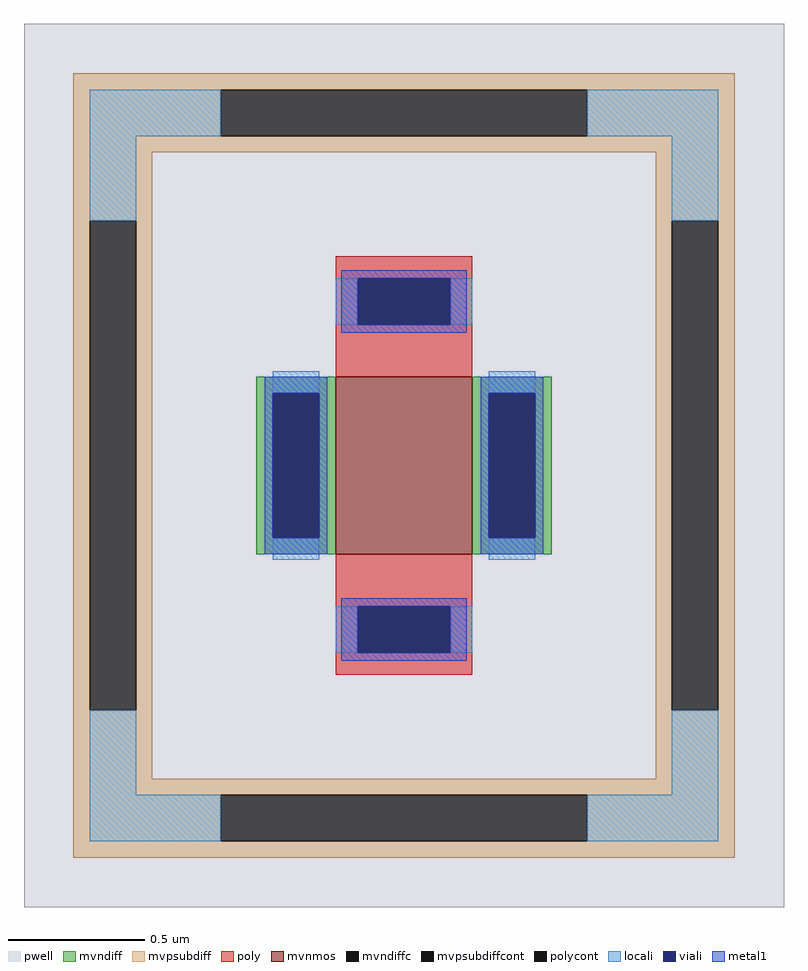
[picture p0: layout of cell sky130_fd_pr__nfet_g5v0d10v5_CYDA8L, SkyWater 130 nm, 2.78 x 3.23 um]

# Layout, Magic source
magic
tech sky130A
magscale 1 2
<< pwell >>
rect -278 -323 278 323
<< mvnmos >>
rect -50 -65 50 65
<< mvndiff >>
rect -108 53 -50 65
rect -108 -53 -96 53
rect -62 -53 -50 53
rect -108 -65 -50 -53
rect 50 53 108 65
rect 50 -53 62 53
rect 96 -53 108 53
rect 50 -65 108 -53
<< mvndiffc >>
rect -96 -53 -62 53
rect 62 -53 96 53
<< mvpsubdiff >>
rect -242 275 242 287
rect -242 241 -134 275
rect 134 241 242 275
rect -242 229 242 241
rect -242 179 -184 229
rect -242 -179 -230 179
rect -196 -179 -184 179
rect 184 179 242 229
rect -242 -229 -184 -179
rect 184 -179 196 179
rect 230 -179 242 179
rect 184 -229 242 -179
rect -242 -241 242 -229
rect -242 -275 -134 -241
rect 134 -275 242 -241
rect -242 -287 242 -275
<< mvpsubdiffcont >>
rect -134 241 134 275
rect -230 -179 -196 179
rect 196 -179 230 179
rect -134 -275 134 -241
<< poly >>
rect -50 137 50 153
rect -50 103 -34 137
rect 34 103 50 137
rect -50 65 50 103
rect -50 -103 50 -65
rect -50 -137 -34 -103
rect 34 -137 50 -103
rect -50 -153 50 -137
<< polycont >>
rect -34 103 34 137
rect -34 -137 34 -103
<< locali >>
rect -230 241 -134 275
rect 134 241 230 275
rect -230 179 -196 241
rect 196 179 230 241
rect -50 103 -34 137
rect 34 103 50 137
rect -96 53 -62 69
rect -96 -69 -62 -53
rect 62 53 96 69
rect 62 -69 96 -53
rect -50 -137 -34 -103
rect 34 -137 50 -103
rect -230 -241 -196 -179
rect 196 -241 230 -179
rect -230 -275 -134 -241
rect 134 -275 230 -241
<< viali >>
rect -34 103 34 137
rect -96 -53 -62 53
rect 62 -53 96 53
rect -34 -137 34 -103
<< metal1 >>
rect -46 137 46 143
rect -46 103 -34 137
rect 34 103 46 137
rect -46 97 46 103
rect -102 53 -56 65
rect -102 -53 -96 53
rect -62 -53 -56 53
rect -102 -65 -56 -53
rect 56 53 102 65
rect 56 -53 62 53
rect 96 -53 102 53
rect 56 -65 102 -53
rect -46 -103 46 -97
rect -46 -137 -34 -103
rect 34 -137 46 -103
rect -46 -143 46 -137
<< properties >>
string FIXED_BBOX -213 -258 213 258
string gencell sky130_fd_pr__nfet_g5v0d10v5
string library sky130
string parameters w 0.65 l 0.5 m 1 nf 1 diffcov 100 polycov 100 guard 1 glc 1 grc 1 gtc 1 gbc 1 tbcov 100 rlcov 100 topc 1 botc 1 poverlap 0 doverlap 1 lmin 0.50 wmin 0.42 compatible {sky130_fd_pr__nfet_01v8 sky130_fd_pr__nfet_01v8_lvt  sky130_fd_bs_flash__special_sonosfet_star  sky130_fd_pr__nfet_g5v0d10v5 sky130_fd_pr__nfet_05v0_nvt  sky130_fd_pr__nfet_03v3_nvt} full_metal 1 viasrc 100 viadrn 100 viagate 100 viagb 0 viagr 0 viagl 0 viagt 0
<< end >>
